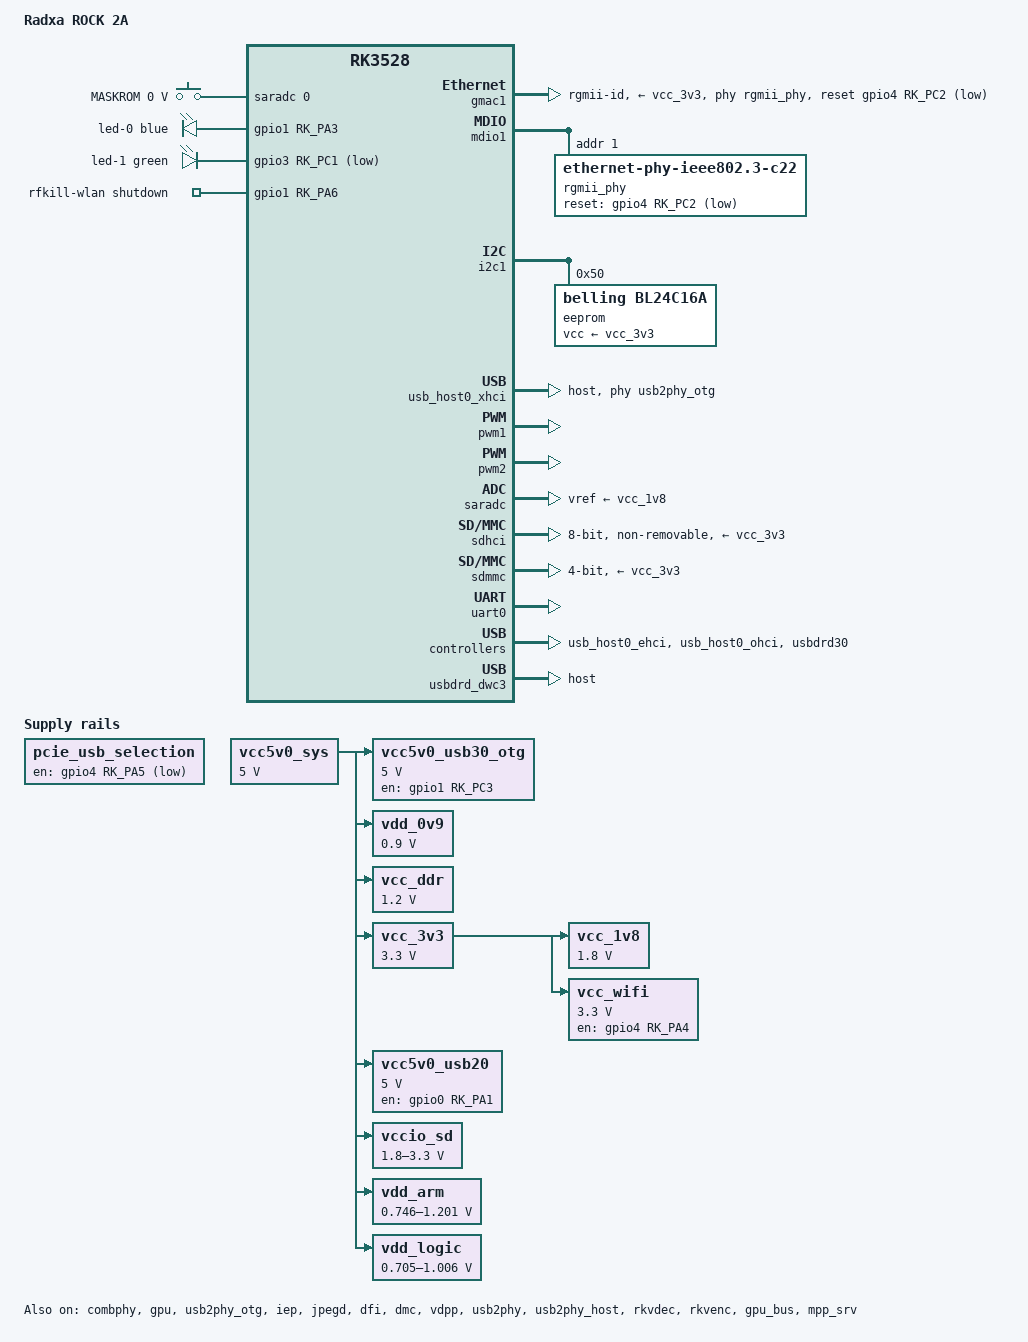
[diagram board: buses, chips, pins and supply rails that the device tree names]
// SPDX-License-Identifier: (GPL-2.0+ OR MIT)

/dts-v1/;

#include <dt-bindings/input/input.h>
#include <dt-bindings/leds/common.h>
#include <dt-bindings/pwm/pwm.h>
#include "rk3528.dtsi"
#include "rk3528-linux.dtsi"

/ {
	model = "Radxa ROCK 2A";
	compatible = "radxa,rock-2a", "rockchip,rk3528";

	aliases {
		ethernet0 = &gmac1;
		i2c1 = &i2c1;
		mmc0 = &sdhci;
		mmc1 = &sdmmc;
		serial0 = &uart0;
	};

	chosen {
		stdout-path = "serial0:1500000n8";
	};
        adc-keys {
		compatible = "adc-keys";
		io-channels = <&saradc 0>;
		io-channel-names = "buttons";
		keyup-threshold-microvolt = <1800000>;
		poll-interval = <100>;

		button-maskrom {
			label = "MASKROM";
			linux,code = <KEY_SETUP>;
			press-threshold-microvolt = <0>;
		};
	};

	leds: leds {
		compatible = "gpio-leds";
		pinctrl-names = "default";
		pinctrl-0 = <&state_led_b>;

	led-0 {
			color = <LED_COLOR_ID_BLUE>;
			default-state = "on";
			function = LED_FUNCTION_HEARTBEAT;
			gpios = <&gpio1 RK_PA3 GPIO_ACTIVE_HIGH>;
			linux,default-trigger = "heartbeat";
		};
	};
	
	/* Select USB3.0 by default */
	pcie_usb_selection: pcie-usb-selection-regulator {
		compatible = "regulator-fixed";
		regulator-name = "pcie_usb_selection";
		regulator-boot-on;
		regulator-always-on;
		gpio = <&gpio4 RK_PA5 GPIO_ACTIVE_LOW>;
		pinctrl-names = "default";
		pinctrl-0 = <&pcie_usb_selection_pin>;
	};

	vcc5v0_usb30_otg: regulator-5v0-vcc-usb30-otg {
		compatible = "regulator-fixed";
		enable-active-high;
		gpios = <&gpio1 RK_PC3 GPIO_ACTIVE_HIGH>;
		pinctrl-names = "default";
		pinctrl-0 = <&usb_otg_en>;
		regulator-name = "vcc5v0_usb30_otg";
		regulator-min-microvolt = <5000000>;
		regulator-max-microvolt = <5000000>;
		vin-supply = <&vcc5v0_sys>;
	};
	
	vdd_0v9: regulator-0v9-vdd {
		compatible = "regulator-fixed";
		regulator-name = "vdd_0v9";
		regulator-always-on;
		regulator-boot-on;
		regulator-min-microvolt = <900000>;
		regulator-max-microvolt = <900000>;
		vin-supply = <&vcc5v0_sys>;
	};

	vcc_ddr: regulator-1v1-vcc-ddr {
		compatible = "regulator-fixed";
		regulator-name = "vcc_ddr";
		regulator-always-on;
		regulator-boot-on;
		regulator-min-microvolt = <1200000>;
		regulator-max-microvolt = <1200000>;
		vin-supply = <&vcc5v0_sys>;
	};

	vcc_1v8: regulator-1v8-vcc {
		compatible = "regulator-fixed";
		regulator-name = "vcc_1v8";
		regulator-always-on;
		regulator-boot-on;
		regulator-min-microvolt = <1800000>;
		regulator-max-microvolt = <1800000>;
		vin-supply = <&vcc_3v3>;
	};

	vcc_3v3: regulator-3v3-vcc {
		compatible = "regulator-fixed";
		regulator-name = "vcc_3v3";
		regulator-always-on;
		regulator-boot-on;
		regulator-min-microvolt = <3300000>;
		regulator-max-microvolt = <3300000>;
		vin-supply = <&vcc5v0_sys>;
	};

	vcc_wifi: regulator-3v3-vcc-wifi {
		compatible = "regulator-fixed";
		enable-active-high;
		regulator-boot-on;
		regulator-always-on;
		gpios = <&gpio4 RK_PA4 GPIO_ACTIVE_HIGH>;
		pinctrl-names = "default";
		pinctrl-0 = <&usb_wifi_pwr>;
		regulator-name = "vcc_wifi";
		regulator-min-microvolt = <3300000>;
		regulator-max-microvolt = <3300000>;
		vin-supply = <&vcc_3v3>;
	};

	vcc5v0_sys: regulator-5v0-vcc-sys {
		compatible = "regulator-fixed";
		regulator-name = "vcc5v0_sys";
		regulator-always-on;
		regulator-boot-on;
		regulator-min-microvolt = <5000000>;
		regulator-max-microvolt = <5000000>;
	};

	vcc5v0_usb20: regulator-5v0-vcc-usb20 {
		compatible = "regulator-fixed";
		enable-active-high;
		regulator-boot-on;
		regulator-always-on;
		gpios = <&gpio0 RK_PA1 GPIO_ACTIVE_HIGH>;
		pinctrl-names = "default";
		pinctrl-0 = <&usb_host_en>;
		regulator-name = "vcc5v0_usb20";
		regulator-min-microvolt = <5000000>;
		regulator-max-microvolt = <5000000>;
		vin-supply = <&vcc5v0_sys>;
	};

	vccio_sd: regulator-vccio-sd {
		compatible = "regulator-gpio";
		gpios = <&gpio1 RK_PC1 GPIO_ACTIVE_HIGH>;
		pinctrl-names = "default";
		pinctrl-0 = <&sdmmc_vol_ctrl_h>;
		regulator-name = "vccio_sd";
		regulator-min-microvolt = <1800000>;
		regulator-max-microvolt = <3300000>;
		states = <1800000 0x0>, <3300000 0x1>;
		vin-supply = <&vcc5v0_sys>;
	};

	vdd_arm: regulator-vdd-arm {
		compatible = "pwm-regulator";
		pwms = <&pwm1 0 5000 PWM_POLARITY_INVERTED>;
		pwm-supply = <&vcc5v0_sys>;
		regulator-name = "vdd_arm";
		regulator-always-on;
		regulator-boot-on;
		regulator-min-microvolt = <746000>;
		regulator-max-microvolt = <1201000>;
		regulator-init-microvolt = <953000>;
		regulator-settling-time-up-us = <250>;
		status = "okay";
	};

	vdd_logic: regulator-vdd-logic {
		compatible = "pwm-regulator";
		pwms = <&pwm2 0 5000 PWM_POLARITY_INVERTED>;
		pwm-supply = <&vcc5v0_sys>;
		regulator-name = "vdd_logic";
		regulator-always-on;
		regulator-boot-on;
		regulator-min-microvolt = <705000>;
		regulator-max-microvolt = <1006000>;
		regulator-init-microvolt = <900000>;
		regulator-settling-time-up-us = <250>;
		status = "okay";
	};

	rfkill {
		compatible = "rfkill-gpio";
		label = "rfkill-wlan";
		pinctrl-names = "default";
		pinctrl-0 = <&wifi_reg_on_h>;
		radio-type = "wlan";
		shutdown-gpios = <&gpio1 RK_PA6 GPIO_ACTIVE_HIGH>;
	};

};

&gmac1 {
	clock_in_out = "output";
	phy-handle = <&rgmii_phy>;
	phy-mode = "rgmii-id";
	phy-supply = <&vcc_3v3>;
	pinctrl-names = "default";
	pinctrl-0 = <&rgmii_miim>, <&rgmii_tx_bus2>, <&rgmii_rx_bus2>,
		    <&rgmii_rgmii_clk>, <&rgmii_rgmii_bus>;
	snps,reset-gpio = <&gpio4 RK_PC2 GPIO_ACTIVE_LOW>;
	snps,reset-active-low;
	/* Reset time is 20ms, 100ms for rtl8211f */
	snps,reset-delays-us = <0 20000 100000>;
	tx_delay = <0x30>;
	/* rx_delay = <0x3f>; */
	status = "okay";
};

&leds {
	pinctrl-names = "default";
	pinctrl-0 = <&state_led_b>, <&sys_led_g>;

	led-1 {
		color = <LED_COLOR_ID_GREEN>;
		default-state = "on";
		function = LED_FUNCTION_STATUS;
		gpios = <&gpio3 RK_PC1 GPIO_ACTIVE_LOW>;
	};
};

&mdio1 {
	rgmii_phy: ethernet-phy@1 {
		compatible = "ethernet-phy-ieee802.3-c22";
		reg = <0x1>;
		pinctrl-names = "default";
		pinctrl-0 = <&gmac1_rstn_l>;
		reset-assert-us = <20000>;
		reset-deassert-us = <100000>;
		reset-gpios = <&gpio4 RK_PC2 GPIO_ACTIVE_LOW>;
	};
};

&combphy {
	status = "okay";
};

&cpu0 {
	cpu-supply = <&vdd_arm>;
};

&cpu1 {
	cpu-supply = <&vdd_arm>;
};

&cpu2 {
	cpu-supply = <&vdd_arm>;
};

&cpu3 {
	cpu-supply = <&vdd_arm>;
};

&gpu {
	mali-supply = <&vdd_logic>;
	status = "okay";
};

&i2c1 {
	pinctrl-names = "default";
	pinctrl-0 = <&i2c1m0_xfer>;
	status = "okay";

	eeprom@50 {
		compatible = "belling,bl24c16a", "atmel,24c16";
		reg = <0x50>;
		pagesize = <16>;
		read-only;
		vcc-supply = <&vcc_3v3>;
	};
};

&pinctrl {
	ethernet {
		gmac1_rstn_l: gmac1-rstn-l {
			rockchip,pins = <4 RK_PC2 RK_FUNC_GPIO &pcfg_pull_none>;
		};
	};

	leds {
		sys_led_g: sys-led-g {
			rockchip,pins = <3 RK_PC1 RK_FUNC_GPIO &pcfg_pull_none>;
		};

		state_led_b: state-led-b {
			rockchip,pins = <1 RK_PA3 RK_FUNC_GPIO &pcfg_pull_none>;
		};
	};

	usb {
		usb_otg_en: usb-otg-en {
			rockchip,pins = <1 RK_PC3 RK_FUNC_GPIO &pcfg_pull_none>;
		};

		usb_host_en: usb-host-en {
			rockchip,pins = <0 RK_PA1 RK_FUNC_GPIO &pcfg_pull_none>;
		};

		pcie_usb_selection_pin: pcie-usb-selection-pin {
			rockchip,pins = <4 RK_PA5 RK_FUNC_GPIO &pcfg_pull_none>;
		};
	};
	
	bluetooth {
		bt_wake_host_h: bt-wake-host-h {
			rockchip,pins = <1 RK_PC2 RK_FUNC_GPIO &pcfg_pull_down>;
		};

		host_wake_bt_h: host-wake-bt-h {
			rockchip,pins = <1 RK_PA5 RK_FUNC_GPIO &pcfg_pull_none>;
		};
	};

	sdmmc {
		sdmmc_vol_ctrl_h: sdmmc-vol-ctrl-h {
			rockchip,pins = <1 RK_PC1 RK_FUNC_GPIO &pcfg_pull_none>;
		};
	};

	wifi {
		usb_wifi_pwr: usb-wifi-pwr {
			rockchip,pins = <4 RK_PA4 RK_FUNC_GPIO &pcfg_pull_none>;
		};

		wifi_reg_on_h: wifi-reg-on-h {
			rockchip,pins = <1 RK_PA6 RK_FUNC_GPIO &pcfg_pull_none>;
		};

		wifi_wake_host_h: wifi-wake-host-h {
			rockchip,pins = <1 RK_PA7 RK_FUNC_GPIO &pcfg_pull_down>;
		};
	};

};

&usb_host0_xhci {
	dr_mode = "host";
	extcon = <&usb2phy>;
	phys = <&usb2phy_otg>, <&combphy PHY_TYPE_USB3>;
	phy-names = "usb2-phy", "usb3-phy";
	status = "okay";
};

&usb2phy_otg {
	phy-supply = <&vcc5v0_usb30_otg>;
	status = "okay";
};

&pwm1 {
	pinctrl-names = "default";
	pinctrl-0 = <&pwm1m0_pins>;
	status = "okay";
};

&pwm2 {
	pinctrl-names = "default";
	pinctrl-0 = <&pwm2m0_pins>;
	status = "okay";
};

&saradc {
	vref-supply = <&vcc_1v8>;
	status = "okay";
};

&sdhci {
	bus-width = <8>;
	cap-mmc-highspeed;
	mmc-hs200-1_8v;
	no-sd;
	no-sdio;
	non-removable;
	vmmc-supply = <&vcc_3v3>;
	vqmmc-supply = <&vcc_1v8>;
	status = "okay";
};

&sdmmc {
	bus-width = <4>;
	cap-mmc-highspeed;
	cap-sd-highspeed;
	disable-wp;
	max-frequency = <100000000>;
	sd-uhs-sdr104;
	vmmc-supply = <&vcc_3v3>;
	vqmmc-supply = <&vccio_sd>;
	status = "okay";
};

&uart0 {
	pinctrl-names = "default";
	pinctrl-0 = <&uart0m0_xfer>;
	status = "okay";
};

&iep {
	status = "okay";
};

&iep_mmu {
	status = "okay";
};

&jpegd {
	status = "okay";
};

&jpegd_mmu {
	status = "okay";
};

&dfi {
	status = "okay";
};

&dmc {
	center-supply = <&vdd_logic>;
	status = "okay";
};

&vdpp {
	status = "okay";
};

&usb_host0_ehci {
	status = "okay";
};

&usb2phy {
	status = "okay";
};

&usb2phy_host {
	phy-supply = <&vcc5v0_usb20>;
	status = "okay";
};

&usb_host0_ohci {
	status = "okay";
};

&usbdrd30 {
	status = "okay";
};

&usbdrd_dwc3 {
	dr_mode = "host";
	extcon = <&usb2phy>;
	status = "okay";
};

&rkvdec {
	status = "okay";
};

&rkvdec_mmu {
	status = "okay";
};

&rkvenc {
	status = "okay";
};

&rkvenc_mmu {
	status = "okay";
};


&gpu_bus {
	bus-supply = <&vdd_logic>;
	status = "okay";
};

&mpp_srv {
	status = "okay";
};

&gpio0 {
	gpio-line-names =
		/* GPIO0_A0-A3 */
		"", "", "", "",
		/* GPIO0_A4-A7 */
		"", "", "", "",

		/* GPIO0_B0-B3 */
		"", "", "", "",
		/* GPIO0_B4-B7 */
		"", "", "", "",

		/* GPIO0_C0-C3 */
		"", "", "", "",
		/* GPIO0_C4-C7 */
		"", "", "", "",

		/* GPIO0_D0-D3 */
		"", "", "", "",
		/* GPIO0_D4-D7 */
		"", "", "", "";
};

&gpio1 {
	gpio-line-names =
		/* GPIO1_A0-A3 */
		"", "", "", "",
		/* GPIO1_A4-A7 */
		"", "", "", "",

		/* GPIO1_B0-B3 */
		"PIN_31", "PIN_33", "PIN_22", "",
		/* GPIO1_B4-B7 */
		"PIN_36", "PIN_12", "PIN_35", "PIN_38",

		/* GPIO1_C0-C3 */
		"PIN_40", "", "", "",
		/* GPIO1_C4-C7 */
		"", "", "", "",

		/* GPIO1_D0-D3 */
		"", "", "", "",
		/* GPIO1_D4-D7 */
		"", "", "", "";
};

&gpio2 {
	gpio-line-names =
		/* GPIO2_A0-A3 */
		"", "", "", "",
		/* GPIO2_A4-A7 */
		"", "", "", "",

		/* GPIO2_B0-B3 */
		"", "", "", "",
		/* GPIO2_B4-B7 */
		"", "", "", "",

		/* GPIO2_C0-C3 */
		"", "", "", "",
		/* GPIO2_C4-C7 */
		"", "", "", "",

		/* GPIO2_D0-D3 */
		"", "", "", "",
		/* GPIO2_D4-D7 */
		"", "", "", "";
};

&gpio3 {
	gpio-line-names =
		/* GPIO3_A0-A3 */
		"", "", "", "",
		/* GPIO3_A4-A7 */
		"", "", "", "",

		/* GPIO3_B0-B3 */
		"", "", "", "",
		/* GPIO3_B4-B7 */
		"", "", "", "",

		/* GPIO3_C0-C3 */
		"", "", "", "",
		/* GPIO3_C4-C7 */
		"", "", "", "",

		/* GPIO3_D0-D3 */
		"", "", "", "",
		/* GPIO3_D4-D7 */
		"", "", "", "";
};

&gpio4 {
	gpio-line-names =
		/* GPIO4_A0-A3 */
		"PIN_3", "PIN_5", "PIN_27", "PIN_28",
		/* GPIO4_A4-A7 */
		"", "", "PIN_7", "",

		/* GPIO4_B0-B3 */
		"PIN_16", "PIN_18", "PIN_19", "PIN_21",
		/* GPIO4_B4-B7 */
		"PIN_23", "PIN_29", "PIN_24", "PIN_11",

		/* GPIO4_C0-C3 */
		"PIN_13", "PIN_26", "", "PIN_32",
		/* GPIO4_C4-C7 */
		"", "", "PIN_15", "PIN_10",

		/* GPIO4_D0-D3 */
		"PIN_8", "", "", "",
		/* GPIO4_D4-D7 */
		"", "", "", "";
};

